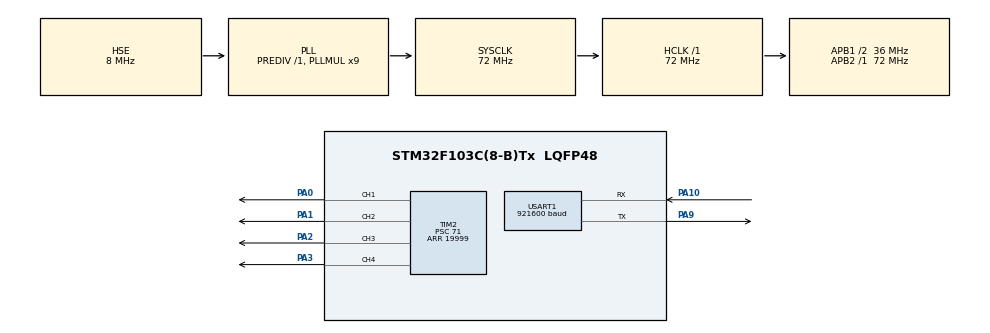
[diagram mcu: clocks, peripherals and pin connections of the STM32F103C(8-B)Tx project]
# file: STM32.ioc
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Dma.Request0=USART1_RX
Dma.Request1=USART1_TX
Dma.USART1_RX.0.Direction=DMA_PERIPH_TO_MEMORY
Dma.USART1_RX.0.Instance=DMA1_Channel5
Dma.USART1_RX.0.MemDataAlignment=DMA_MDATAALIGN_BYTE
Dma.USART1_RX.0.MemInc=DMA_MINC_ENABLE
Dma.USART1_RX.0.Mode=DMA_NORMAL
Dma.USART1_RX.0.PeriphDataAlignment=DMA_PDATAALIGN_BYTE
Dma.USART1_RX.0.PeriphInc=DMA_PINC_DISABLE
Dma.USART1_RX.0.Priority=DMA_PRIORITY_MEDIUM
Dma.USART1_TX.1.Direction=DMA_MEMORY_TO_PERIPH
Dma.USART1_TX.1.Instance=DMA1_Channel4
Dma.USART1_TX.1.MemDataAlignment=DMA_MDATAALIGN_BYTE
Dma.USART1_TX.1.MemInc=DMA_MINC_ENABLE
Dma.USART1_TX.1.Mode=DMA_NORMAL
Dma.USART1_TX.1.PeriphDataAlignment=DMA_PDATAALIGN_BYTE
Dma.USART1_TX.1.PeriphInc=DMA_PINC_DISABLE
Dma.USART1_TX.1.Priority=DMA_PRIORITY_MEDIUM
FREERTOS.Tasks01=defaultTask,24,128,StartDefaultTask,Default,NULL,Dynamic,NULL,NULL
FREERTOS.configTOTAL_HEAP_SIZE=4096
Mcu.Family=STM32F1
Mcu.Name=STM32F103C(8-B)Tx
Mcu.Package=LQFP48
NVIC.DMA1_Channel4_IRQn=true\:5\:0\:false\:false\:true\:true\:false\:true\:true
NVIC.DMA1_Channel5_IRQn=true\:5\:0\:false\:false\:true\:true\:false\:true\:true
NVIC.PriorityGroup=NVIC_PRIORITYGROUP_4
NVIC.TIM4_IRQn=true\:15\:0\:false\:false\:true\:false\:false\:true\:true
NVIC.TimeBase=TIM4_IRQn
NVIC.TimeBaseIP=TIM4
NVIC.USART1_IRQn=true\:5\:0\:false\:false\:true\:true\:false\:true\:true
PA0-WKUP.Signal=S_TIM2_CH1_ETR
PA1.Signal=S_TIM2_CH2
PA10.Mode=Asynchronous
PA10.Signal=USART1_RX
PA2.Signal=S_TIM2_CH3
PA3.Signal=S_TIM2_CH4
PA9.Mode=Asynchronous
PA9.Signal=USART1_TX
PD0-OSC_IN.Mode=HSE-External-Oscillator
PD0-OSC_IN.Signal=RCC_OSC_IN
PD1-OSC_OUT.Mode=HSE-External-Oscillator
PD1-OSC_OUT.Signal=RCC_OSC_OUT
ProjectManager.HeapSize=0x200
ProjectManager.StackSize=0x400
ProjectManager.TargetToolchain=Makefile
RCC.AHBFreq_Value=72000000
RCC.APB1CLKDivider=RCC_HCLK_DIV2
RCC.APB1Freq_Value=36000000
RCC.APB1TimFreq_Value=72000000
RCC.APB2Freq_Value=72000000
RCC.APB2TimFreq_Value=72000000
RCC.HCLKFreq_Value=72000000
RCC.PLLMUL=RCC_PLL_MUL9
RCC.PLLSourceVirtual=RCC_PLLSOURCE_HSE
RCC.SYSCLKFreq_VALUE=72000000
RCC.SYSCLKSource=RCC_SYSCLKSOURCE_PLLCLK
RCC.USBFreq_Value=72000000
SH.S_TIM2_CH1_ETR.0=TIM2_CH1,PWM Generation1 CH1
SH.S_TIM2_CH2.0=TIM2_CH2,PWM Generation2 CH2
SH.S_TIM2_CH3.0=TIM2_CH3,PWM Generation3 CH3
SH.S_TIM2_CH4.0=TIM2_CH4,PWM Generation4 CH4
TIM2.AutoReloadPreload=TIM_AUTORELOAD_PRELOAD_ENABLE
TIM2.Channel-PWM\ Generation1\ CH1=TIM_CHANNEL_1
TIM2.Channel-PWM\ Generation2\ CH2=TIM_CHANNEL_2
TIM2.Channel-PWM\ Generation3\ CH3=TIM_CHANNEL_3
TIM2.Channel-PWM\ Generation4\ CH4=TIM_CHANNEL_4
TIM2.Period=19999
TIM2.Prescaler=71
USART1.BaudRate=921600
USART1.VirtualMode=VM_ASYNC
VP_FREERTOS_VS_CMSIS_V2.Mode=CMSIS_V2
VP_SYS_VS_ND.Mode=No_Debug
VP_SYS_VS_tim4.Mode=TIM4
board=custom

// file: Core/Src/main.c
/* USER CODE BEGIN Header */
/**
  ******************************************************************************
  * @file           : main.c
  * @brief          : Main program body
  ******************************************************************************
  * @attention
  *
  * Copyright (c) 2026 STMicroelectronics.
  * All rights reserved.
  *
  * This software is licensed under terms that can be found in the LICENSE file
  * in the root directory of this software component.
  * If no LICENSE file comes with this software, it is provided AS-IS.
  *
  ******************************************************************************
  */
/* USER CODE END Header */
#include "main.h"
#include "cmsis_os.h"
#include "dma.h"
#include "tim.h"
#include "usart.h"
#include "iwdg.h"
#include "gpio.h"

/* USER CODE BEGIN Includes */

#include "servo_driver.h"
#include "traj_planner.h"

/* USER CODE END Includes */

/* USER CODE BEGIN PD */

#define SERVO_SWING_TEST 0

/* USER CODE END PD */

void SystemClock_Config(void);
void MX_FREERTOS_Init(void);

int main(void)
{

  /* MCU Configuration--------------------------------------------------------*/

  /* Reset of all peripherals, Initializes the Flash interface and the Systick. */
  HAL_Init();

  /* Configure the system clock */
  SystemClock_Config();

  /* Initialize all configured peripherals */
  MX_GPIO_Init();
  MX_DMA_Init();
  MX_USART1_UART_Init();
  MX_TIM2_Init();
  MX_IWDG_Init();
  /* USER CODE BEGIN 2 */

#if SERVO_SWING_TEST
  Servo_Init();
#else
  TrajPlanner_Init();
#endif

  /* USER CODE END 2 */

#if SERVO_SWING_TEST
  while (1)
  {
    Servo_SetAngle(0, 0.0f);
    HAL_Delay(1000);

    Servo_SetAngle(0, 180.0f);
    HAL_Delay(1000);
  }
#else
  /* Init scheduler */
  osKernelInitialize();  /* Call init function for freertos objects (in cmsis_os2.c) */
  MX_FREERTOS_Init();

  /* Start scheduler */
  osKernelStart();

  /* We should never get here as control is now taken by the scheduler */

  /* Infinite loop */
  while (1)
  {

    /* USER CODE BEGIN 3 */
  }
#endif
  /* USER CODE END 3 */
}

void SystemClock_Config(void)
{
  RCC_OscInitTypeDef RCC_OscInitStruct = {0};
  RCC_ClkInitTypeDef RCC_ClkInitStruct = {0};

  /** Initializes the RCC Oscillators according to the specified parameters
  * in the RCC_OscInitTypeDef structure.
  */
  RCC_OscInitStruct.OscillatorType = RCC_OSCILLATORTYPE_HSE;
  RCC_OscInitStruct.HSEState = RCC_HSE_ON;
  RCC_OscInitStruct.HSEPredivValue = RCC_HSE_PREDIV_DIV1;
  RCC_OscInitStruct.HSIState = RCC_HSI_ON;
  RCC_OscInitStruct.PLL.PLLState = RCC_PLL_ON;
  RCC_OscInitStruct.PLL.PLLSource = RCC_PLLSOURCE_HSE;
  RCC_OscInitStruct.PLL.PLLMUL = RCC_PLL_MUL9;
  if (HAL_RCC_OscConfig(&RCC_OscInitStruct) != HAL_OK)
  {
    Error_Handler();
  }

  /** Initializes the CPU, AHB and APB buses clocks
  */
  RCC_ClkInitStruct.ClockType = RCC_CLOCKTYPE_HCLK|RCC_CLOCKTYPE_SYSCLK
                              |RCC_CLOCKTYPE_PCLK1|RCC_CLOCKTYPE_PCLK2;
  RCC_ClkInitStruct.SYSCLKSource = RCC_SYSCLKSOURCE_PLLCLK;
  RCC_ClkInitStruct.AHBCLKDivider = RCC_SYSCLK_DIV1;
  RCC_ClkInitStruct.APB1CLKDivider = RCC_HCLK_DIV2;
  RCC_ClkInitStruct.APB2CLKDivider = RCC_HCLK_DIV1;

  if (HAL_RCC_ClockConfig(&RCC_ClkInitStruct, FLASH_LATENCY_2) != HAL_OK)
  {
    Error_Handler();
  }
}

void HAL_TIM_PeriodElapsedCallback(TIM_HandleTypeDef *htim)
{
  if (htim->Instance == TIM4)
  {
    HAL_IncTick();
  }
}

void Error_Handler(void)
{
  __disable_irq();
  while (1)
  {
  }
}

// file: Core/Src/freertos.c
/* USER CODE BEGIN Header */
/**
  ******************************************************************************
  * File Name          : freertos.c
  * Description        : Code for freertos applications
  ******************************************************************************
  * @attention
  *
  * Copyright (c) 2026 STMicroelectronics.
  * All rights reserved.
  *
  * This software is licensed under terms that can be found in the LICENSE file
  * in the root directory of this software component.
  * If no LICENSE file comes with this software, it is provided AS-IS.
  *
  ******************************************************************************
  */
/* USER CODE END Header */

#include "FreeRTOS.h"
#include "task.h"
#include "main.h"
#include "cmsis_os.h"

/* USER CODE BEGIN Includes */

#include "uart_rx_task.h"
#include "traj_planner.h"
#include "status_safety_task.h"

/* USER CODE END Includes */

/* Definitions for defaultTask */
osThreadId_t defaultTaskHandle;
const osThreadAttr_t defaultTask_attributes = {
  .name = "defaultTask",
  .stack_size = 128 * 4,
  .priority = (osPriority_t) osPriorityNormal,
};

void StartDefaultTask(void *argument);

void MX_FREERTOS_Init(void); /* (MISRA C 2004 rule 8.1) */

void MX_FREERTOS_Init(void) {

  /* Create the thread(s) */
  /* creation of defaultTask */
  defaultTaskHandle = osThreadNew(StartDefaultTask, NULL, &defaultTask_attributes);

  /* USER CODE BEGIN RTOS_THREADS */
  /* add threads, ... */
  UartRxTask_Create();
  TrajPlannerTask_Create();
  StatusSafetyTask_Create();
  /* USER CODE END RTOS_THREADS */

}

void StartDefaultTask(void *argument)
{
  /* USER CODE BEGIN StartDefaultTask */
  for(;;)
  {
    osDelay(1000);
  }
  /* USER CODE END StartDefaultTask */
}
